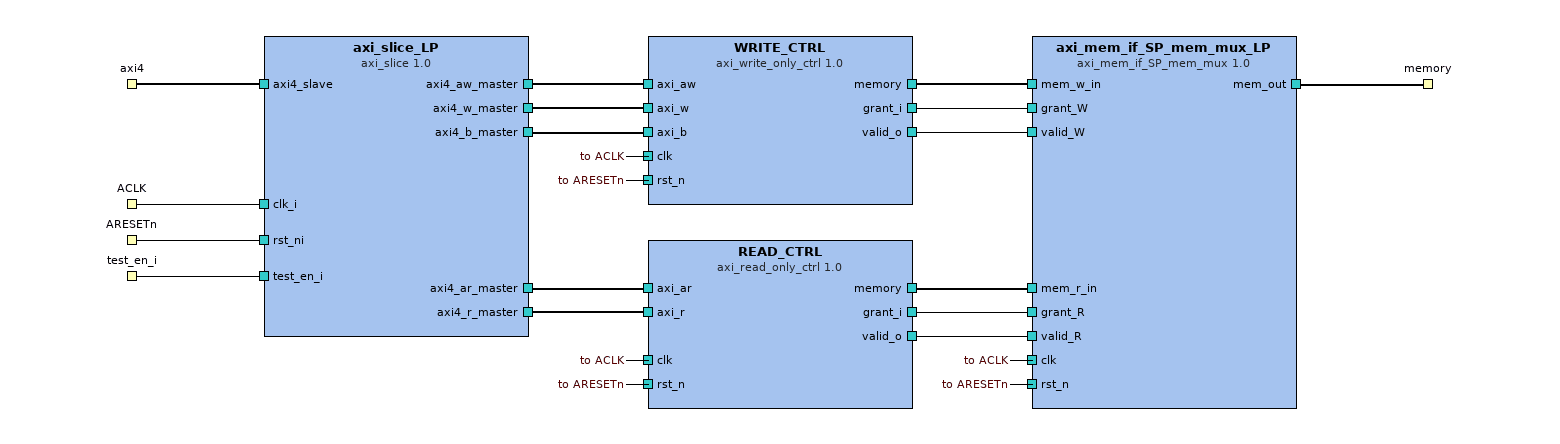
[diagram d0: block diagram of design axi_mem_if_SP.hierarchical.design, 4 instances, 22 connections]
<?xml version="1.0" encoding="UTF-8"?>
<ipxact:design xmlns:xsi="http://www.w3.org/2001/XMLSchema-instance" xmlns:ipxact="http://www.accellera.org/XMLSchema/IPXACT/1685-2014" xmlns:kactus2="http://kactus2.cs.tut.fi" xsi:schemaLocation="http://www.accellera.org/XMLSchema/IPXACT/1685-2014/ http://www.accellera.org/XMLSchema/IPXACT/1685-2014/index.xsd"><ipxact:vendor>pulpino-project.org</ipxact:vendor><ipxact:library>ip.hwp.ifc</ipxact:library>
 <ipxact:name>axi_mem_if_SP.hierarchical.design</ipxact:name><ipxact:version>1.0</ipxact:version><ipxact:componentInstances>
 <ipxact:componentInstance><ipxact:instanceName>WRITE_CTRL</ipxact:instanceName>
  <ipxact:componentRef vendor="pulpino-project.org" library="ip.hwp.mem" name="axi_write_only_ctrl" version="1.0">
   <ipxact:configurableElementValues><ipxact:configurableElementValue referenceId="uuid_d481207e_ffc6_4dfa_9a7e_9f6a795b9d71">uuid_91593a3a_2e2e_4692_b9d8_dd6337ef748f</ipxact:configurableElementValue><ipxact:configurableElementValue referenceId="uuid_dd0b7ebf_86f7_4d46_b613_ee2aa8ce48bd">uuid_5c41b481_18c1_427e_b9c4_7ed4d520f4fe</ipxact:configurableElementValue><ipxact:configurableElementValue referenceId="uuid_c471b789_4c9d_4dea_9cc1_95a390f9fb2d">uuid_4b54bc1f_04d8_4ab9_ad91_f70fcfc01dab</ipxact:configurableElementValue>
    <ipxact:configurableElementValue referenceId="uuid_ce84ec2a_5333_456e_be91_a2c4f68fc4b8">uuid_ff0b5340_9a74_48a1_b01f_8999ebb02408</ipxact:configurableElementValue><ipxact:configurableElementValue referenceId="uuid_16e8b36d_b340_494f_bd17_831d92956231">uuid_1e7d1a6f_fad3_4ecd_8baa_39b089939831</ipxact:configurableElementValue><ipxact:configurableElementValue referenceId="uuid_d4f362eb_ea88_4f00_921a_5383d98b37de">uuid_a6c53162_3153_4c65_89b6_ce2b5da1b844</ipxact:configurableElementValue>
   </ipxact:configurableElementValues>
  </ipxact:componentRef>
 </ipxact:componentInstance>
 <ipxact:componentInstance><ipxact:instanceName>READ_CTRL</ipxact:instanceName>
  <ipxact:componentRef vendor="pulpino-project.org" library="ip.hwp.mem" name="axi_read_only_ctrl" version="1.0">
   <ipxact:configurableElementValues><ipxact:configurableElementValue referenceId="uuid_5f450adc_0e49_4757_8fbb_d4b6f123369f">uuid_91593a3a_2e2e_4692_b9d8_dd6337ef748f</ipxact:configurableElementValue><ipxact:configurableElementValue referenceId="uuid_466ea12c_eef9_432d_95d0_c69b6c89656a">uuid_5c41b481_18c1_427e_b9c4_7ed4d520f4fe</ipxact:configurableElementValue><ipxact:configurableElementValue referenceId="uuid_63be1f21_3d10_466f_9b1d_f4c628e31d91">uuid_4b54bc1f_04d8_4ab9_ad91_f70fcfc01dab</ipxact:configurableElementValue>
    <ipxact:configurableElementValue referenceId="uuid_b0e98219_ab50_4b96_8795_e8b6ce167215">uuid_ff0b5340_9a74_48a1_b01f_8999ebb02408</ipxact:configurableElementValue><ipxact:configurableElementValue referenceId="uuid_1a0b6ad1_1470_4bf6_a76a_d215b0034cfc">uuid_1e7d1a6f_fad3_4ecd_8baa_39b089939831</ipxact:configurableElementValue><ipxact:configurableElementValue referenceId="uuid_5d616b6b_33c2_40e3_8df6_9aba1f1b9efa">uuid_a6c53162_3153_4c65_89b6_ce2b5da1b844</ipxact:configurableElementValue>
   </ipxact:configurableElementValues>
  </ipxact:componentRef>
 </ipxact:componentInstance>
 <ipxact:componentInstance><ipxact:instanceName>axi_mem_if_SP_mem_mux_LP</ipxact:instanceName>
  <ipxact:componentRef vendor="pulpino-project.org" library="ip.hwp.mux" name="axi_mem_if_SP_mem_mux" version="1.0">
   <ipxact:configurableElementValues><ipxact:configurableElementValue referenceId="uuid_c5cfbe59_dee8_468f_b6c6_cb1f77d40cf6">uuid_91593a3a_2e2e_4692_b9d8_dd6337ef748f</ipxact:configurableElementValue><ipxact:configurableElementValue referenceId="uuid_a16280e6_e3cf_4fa0_9058_52d28a1b2420">uuid_c5e8810e_d707_4dc7_a671_15276b9e4116</ipxact:configurableElementValue><ipxact:configurableElementValue referenceId="uuid_cc370fc1_5d59_4ebc_9a20_ea1bfc8a73ea">uuid_5c41b481_18c1_427e_b9c4_7ed4d520f4fe</ipxact:configurableElementValue>
    <ipxact:configurableElementValue referenceId="uuid_afc34d9f_fb4c_4b6a_9a88_3ced85363d4f">uuid_ff0b5340_9a74_48a1_b01f_8999ebb02408</ipxact:configurableElementValue>
   </ipxact:configurableElementValues>
  </ipxact:componentRef>
 </ipxact:componentInstance>
 <ipxact:componentInstance><ipxact:instanceName>axi_slice_LP</ipxact:instanceName>
  <ipxact:componentRef vendor="pulpino-project.org" library="ip.hwp.ifc" name="axi_slice" version="1.0">
   <ipxact:configurableElementValues><ipxact:configurableElementValue referenceId="uuid_4cfaadac_657d_4188_aad7_954363c7ab12">uuid_4b54bc1f_04d8_4ab9_ad91_f70fcfc01dab</ipxact:configurableElementValue><ipxact:configurableElementValue referenceId="uuid_0affe16a_ccb0_411b_ba22_ed2f9db45373">uuid_c5e8810e_d707_4dc7_a671_15276b9e4116</ipxact:configurableElementValue><ipxact:configurableElementValue referenceId="uuid_f0abef87_a8ce_4f5d_b2df_a8abda842bab">uuid_1e7d1a6f_fad3_4ecd_8baa_39b089939831</ipxact:configurableElementValue>
    <ipxact:configurableElementValue referenceId="uuid_f4d67aaa_5ea1_4873_8641_5587b040a052">uuid_5c41b481_18c1_427e_b9c4_7ed4d520f4fe</ipxact:configurableElementValue><ipxact:configurableElementValue referenceId="uuid_a86e5030_8cd8_4793_a969_c417de590c8f">uuid_a6c53162_3153_4c65_89b6_ce2b5da1b844</ipxact:configurableElementValue>
   </ipxact:configurableElementValues>
  </ipxact:componentRef>
 </ipxact:componentInstance>
</ipxact:componentInstances><ipxact:interconnections>
 <ipxact:interconnection><ipxact:name>axi_mem_if_SP_mem_mux_LP_mem_out_to_memory</ipxact:name><ipxact:activeInterface componentRef="axi_mem_if_SP_mem_mux_LP" busRef="mem_out"/><ipxact:hierInterface busRef="memory"/></ipxact:interconnection>
 <ipxact:interconnection><ipxact:name>axi_mem_if_SP_mem_mux_LP_mem_w_in_to_WRITE_CTRL_memory</ipxact:name><ipxact:activeInterface componentRef="axi_mem_if_SP_mem_mux_LP" busRef="mem_w_in"/><ipxact:activeInterface componentRef="WRITE_CTRL" busRef="memory"/></ipxact:interconnection>
 <ipxact:interconnection><ipxact:name>READ_CTRL_memory_to_axi_mem_if_SP_mem_mux_LP_mem_r_in</ipxact:name><ipxact:activeInterface componentRef="READ_CTRL" busRef="memory"/><ipxact:activeInterface componentRef="axi_mem_if_SP_mem_mux_LP" busRef="mem_r_in"/></ipxact:interconnection>
 <ipxact:interconnection><ipxact:name>axi_slice_LP_axi4_slave_to_axi4</ipxact:name><ipxact:activeInterface componentRef="axi_slice_LP" busRef="axi4_slave"/><ipxact:hierInterface busRef="axi4"/></ipxact:interconnection>
 <ipxact:interconnection><ipxact:name>axi_slice_LP_axi4_ar_master_to_READ_CTRL_axi_ar</ipxact:name><ipxact:activeInterface componentRef="axi_slice_LP" busRef="axi4_ar_master"/><ipxact:activeInterface componentRef="READ_CTRL" busRef="axi_ar"/></ipxact:interconnection>
 <ipxact:interconnection><ipxact:name>WRITE_CTRL_axi_w_to_axi_slice_LP_axi4_w_master</ipxact:name><ipxact:activeInterface componentRef="WRITE_CTRL" busRef="axi_w"/><ipxact:activeInterface componentRef="axi_slice_LP" busRef="axi4_w_master"/></ipxact:interconnection>
 <ipxact:interconnection><ipxact:name>WRITE_CTRL_axi_aw_to_axi_slice_LP_axi4_aw_master</ipxact:name><ipxact:activeInterface componentRef="WRITE_CTRL" busRef="axi_aw"/><ipxact:activeInterface componentRef="axi_slice_LP" busRef="axi4_aw_master"/></ipxact:interconnection>
 <ipxact:interconnection><ipxact:name>axi_slice_LP_axi4_b_master_to_WRITE_CTRL_axi_b</ipxact:name><ipxact:activeInterface componentRef="axi_slice_LP" busRef="axi4_b_master"/><ipxact:activeInterface componentRef="WRITE_CTRL" busRef="axi_b"/></ipxact:interconnection>
 <ipxact:interconnection><ipxact:name>READ_CTRL_axi_r_to_axi_slice_LP_axi4_r_master</ipxact:name><ipxact:activeInterface componentRef="READ_CTRL" busRef="axi_r"/><ipxact:activeInterface componentRef="axi_slice_LP" busRef="axi4_r_master"/></ipxact:interconnection>
</ipxact:interconnections><ipxact:adHocConnections>
 <ipxact:adHocConnection><ipxact:name>WRITE_CTRL_grant_i_to_axi_mem_if_SP_mem_mux_LP_grant_W</ipxact:name><ipxact:portReferences><ipxact:internalPortReference componentRef="WRITE_CTRL" portRef="grant_i"/><ipxact:internalPortReference componentRef="axi_mem_if_SP_mem_mux_LP" portRef="grant_W"/></ipxact:portReferences></ipxact:adHocConnection>
 <ipxact:adHocConnection><ipxact:name>axi_mem_if_SP_mem_mux_LP_valid_W_to_WRITE_CTRL_valid_o</ipxact:name><ipxact:portReferences><ipxact:internalPortReference componentRef="axi_mem_if_SP_mem_mux_LP" portRef="valid_W"/><ipxact:internalPortReference componentRef="WRITE_CTRL" portRef="valid_o"/></ipxact:portReferences></ipxact:adHocConnection>
 <ipxact:adHocConnection><ipxact:name>axi_mem_if_SP_mem_mux_LP_grant_R_to_READ_CTRL_grant_i</ipxact:name><ipxact:portReferences><ipxact:internalPortReference componentRef="axi_mem_if_SP_mem_mux_LP" portRef="grant_R"/><ipxact:internalPortReference componentRef="READ_CTRL" portRef="grant_i"/></ipxact:portReferences></ipxact:adHocConnection>
 <ipxact:adHocConnection><ipxact:name>READ_CTRL_valid_o_to_axi_mem_if_SP_mem_mux_LP_valid_R</ipxact:name><ipxact:portReferences><ipxact:internalPortReference componentRef="READ_CTRL" portRef="valid_o"/><ipxact:internalPortReference componentRef="axi_mem_if_SP_mem_mux_LP" portRef="valid_R"/></ipxact:portReferences></ipxact:adHocConnection>
 <ipxact:adHocConnection><ipxact:name>WRITE_CTRL_clk_to_ACLK</ipxact:name><ipxact:portReferences><ipxact:internalPortReference componentRef="WRITE_CTRL" portRef="clk"/><ipxact:externalPortReference portRef="ACLK"/></ipxact:portReferences></ipxact:adHocConnection>
 <ipxact:adHocConnection><ipxact:name>READ_CTRL_clk_to_ACLK</ipxact:name><ipxact:portReferences><ipxact:internalPortReference componentRef="READ_CTRL" portRef="clk"/><ipxact:externalPortReference portRef="ACLK"/></ipxact:portReferences></ipxact:adHocConnection>
 <ipxact:adHocConnection><ipxact:name>axi_mem_if_SP_mem_mux_LP_clk_to_ACLK</ipxact:name><ipxact:portReferences><ipxact:internalPortReference componentRef="axi_mem_if_SP_mem_mux_LP" portRef="clk"/><ipxact:externalPortReference portRef="ACLK"/></ipxact:portReferences></ipxact:adHocConnection>
 <ipxact:adHocConnection><ipxact:name>READ_CTRL_rst_n_to_ARESETn</ipxact:name><ipxact:portReferences><ipxact:internalPortReference componentRef="READ_CTRL" portRef="rst_n"/><ipxact:externalPortReference portRef="ARESETn"/></ipxact:portReferences></ipxact:adHocConnection>
 <ipxact:adHocConnection><ipxact:name>WRITE_CTRL_rst_n_to_ARESETn</ipxact:name><ipxact:portReferences><ipxact:internalPortReference componentRef="WRITE_CTRL" portRef="rst_n"/><ipxact:externalPortReference portRef="ARESETn"/></ipxact:portReferences></ipxact:adHocConnection>
 <ipxact:adHocConnection><ipxact:name>axi_mem_if_SP_mem_mux_LP_rst_n_to_ARESETn</ipxact:name><ipxact:portReferences><ipxact:internalPortReference componentRef="axi_mem_if_SP_mem_mux_LP" portRef="rst_n"/><ipxact:externalPortReference portRef="ARESETn"/></ipxact:portReferences></ipxact:adHocConnection>
 <ipxact:adHocConnection><ipxact:name>axi_slice_LP_clk_i_to_ACLK</ipxact:name><ipxact:portReferences><ipxact:internalPortReference componentRef="axi_slice_LP" portRef="clk_i"/><ipxact:externalPortReference portRef="ACLK"/></ipxact:portReferences></ipxact:adHocConnection>
 <ipxact:adHocConnection><ipxact:name>axi_slice_LP_rst_ni_to_ARESETn</ipxact:name><ipxact:portReferences><ipxact:internalPortReference componentRef="axi_slice_LP" portRef="rst_ni"/><ipxact:externalPortReference portRef="ARESETn"/></ipxact:portReferences></ipxact:adHocConnection>
 <ipxact:adHocConnection><ipxact:name>axi_slice_LP_test_en_i_to_test_en_i</ipxact:name><ipxact:portReferences><ipxact:internalPortReference componentRef="axi_slice_LP" portRef="test_en_i"/><ipxact:externalPortReference portRef="test_en_i"/></ipxact:portReferences></ipxact:adHocConnection>
</ipxact:adHocConnections></ipxact:design>

